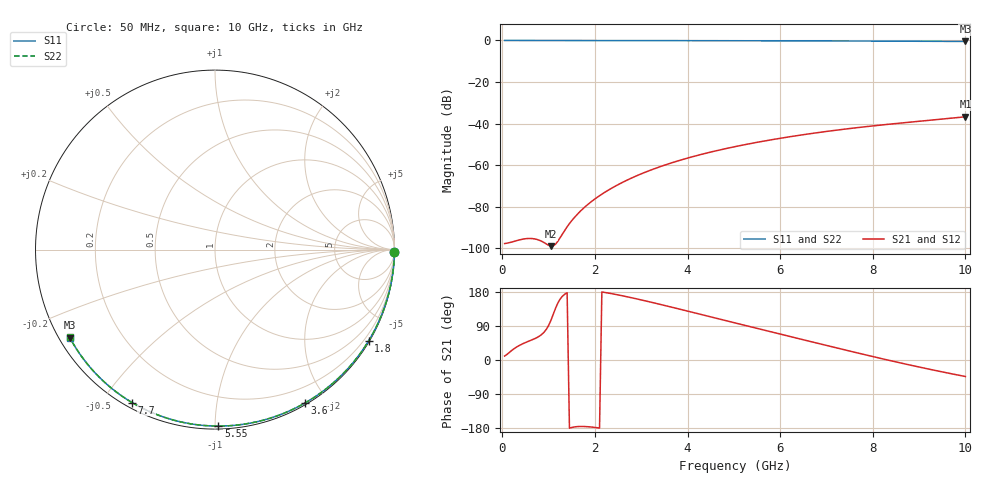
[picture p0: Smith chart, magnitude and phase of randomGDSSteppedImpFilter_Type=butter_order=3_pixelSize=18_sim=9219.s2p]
! freq	dB(S11)	phase(S11)	dB(S12)	phase(S12)
!  dB(S21)	phase(S21)	dB(S22)	phase(S22)
!S-par simulation data
#  GHz  S  DB  R 50
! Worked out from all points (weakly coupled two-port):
!   200 points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, 50 MHz to 10 GHz, reference 50 ohm
!   highest |S21| = -36.76 dB at 10 GHz (marker M1); lowest = -99.1 dB at 1.05 GHz (marker M2)
!   lowest |S11| = -0.5 dB at 10 GHz (marker M3), VSWR 36.01, Z = 1.5 - j13.9 ohm
!   |S11| at or under -10 dB: nowhere
!   |S22| runs from -0.5 to 0.0 dB; largest |S21 - S12| = 0
!   S11 on the Smith chart (normalised r, x): 50 MHz: open; 1.8 GHz: 0.03, -3.65; 3.6 GHz: 0.02, -1.74; 5.55 GHz: 0.02, -1.02; 7.7 GHz: 0.02, -0.59; 10 GHz: 0.03, -0.28
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0.05  -0.00 -0.9  -97.80 10.3  -97.80 10.3  -0.00 -0.9
0.55  -0.01 -9.5  -95.37 48.6  -95.37 48.6  -0.01 -9.5
1.05  -0.02 -18.0  -99.06 104.5  -99.06 104.5  -0.02 -18.1
1.75  -0.04 -29.8  -80.86 -175.5  -80.86 -175.5  -0.04 -29.8
1.8  -0.04 -30.7  -79.86 -175.7  -79.86 -175.7  -0.04 -30.7
1.95  -0.04 -33.2  -77.15 -177.2  -77.15 -177.2  -0.04 -33.2
2.1  -0.05 -35.6  -74.76 -179.5  -74.76 -179.5  -0.05 -35.7
2.3  -0.05 -38.9  -71.93 176.5  -71.93 176.5  -0.05 -38.9
2.5  -0.05 -42.2  -69.43 171.8  -69.43 171.8  -0.05 -42.2
2.9  -0.06 -48.7  -65.17 161.4  -65.17 161.4  -0.06 -48.7
3.4  -0.07 -56.6  -60.83 147.1  -60.83 147.1  -0.07 -56.6
3.6  -0.08 -59.8  -59.33 141.1  -59.33 141.1  -0.08 -59.8
3.9  -0.09 -64.4  -57.28 132.1  -57.28 132.1  -0.09 -64.4
4.3  -0.10 -70.5  -54.85 120.0  -54.85 120.0  -0.10 -70.5
5.05  -0.12 -81.7  -51.01 97.1  -51.01 97.1  -0.12 -81.7
5.55  -0.14 -88.9  -48.85 82.0  -48.85 82.0  -0.14 -89.0
6.1  -0.17 -96.7  -46.75 65.4  -46.75 65.4  -0.17 -96.7
6.7  -0.20 -105.0  -44.73 47.4  -44.73 47.4  -0.20 -105.1
7.7  -0.27 -118.5  -41.89 17.8  -41.89 17.8  -0.27 -118.6
8.35  -0.32 -127.1  -40.33 -0.9  -40.33 -0.9  -0.32 -127.2
9.2  -0.40 -138.3  -38.50 -23.8  -38.50 -23.8  -0.40 -138.4
10  -0.48 -148.8  -36.76 -43.6  -36.76 -43.6  -0.48 -148.9
